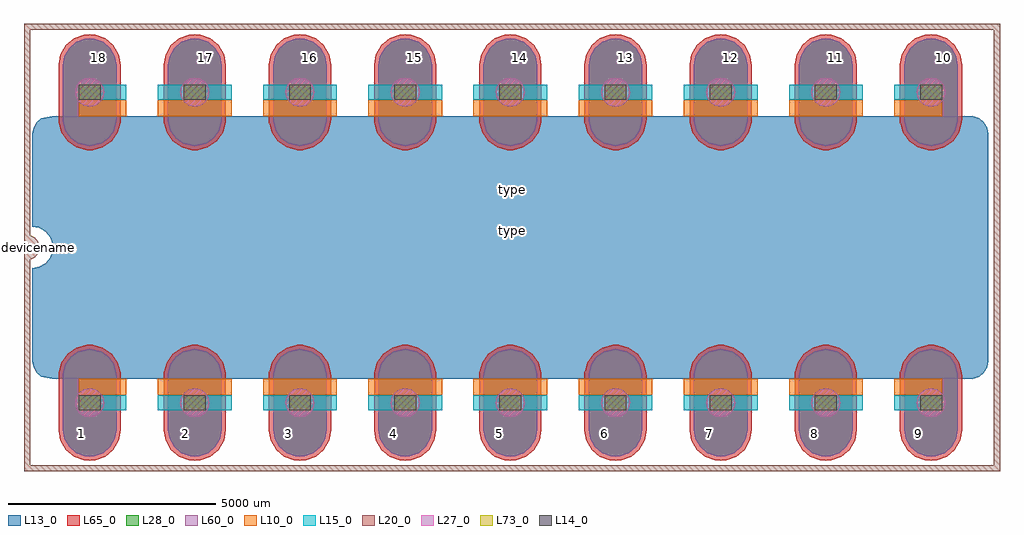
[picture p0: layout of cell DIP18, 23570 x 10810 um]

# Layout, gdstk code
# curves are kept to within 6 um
import gdstk
lib = gdstk.Library(unit=1e-6, precision=1e-09)
def R(c, l, rs):  # rectangles x0, y0, x1, y1
    for r in rs: c.add(gdstk.rectangle(r[:2], r[2:], *l))
def A(c, l, x, y, w, h, nx, ny, dx, dy):  # array of equal rectangles
    R(c, l, [(x+i*dx, y+j*dy, x+i*dx+w, y+j*dy+h) for i in range(nx) for j in range(ny)])
def P(c, l, *ps):  # polygons
    for p in ps: c.add(gdstk.Polygon(p, *l))
L10_0 = (10, 0)
L13_0 = (13, 0)
L14_0 = (14, 0)
L15_0 = (15, 0)
L20_0 = (20, 0)
L27_0 = (27, 0)
L28_0 = (28, 0)
L60_0 = (60, 0)
L65_0 = (65, 0)
L73_0 = (73, 0)

dip18 = lib.new_cell('DIP18')
A(dip18, L10_0, 1340, -3565, 1780, 390, 7, 2, 2540, 6740)
R(dip18, L10_0, [(-575,-3565,580,-3175), (19120,-3565,20275,-3175), (-575,3175,580,3565), (19120,3175,20275,3565)])
P(dip18, L13_0, [(21030.537,3170.891),(-1210.537,3170.891),(-1472.5,3119.221),(-1588.229,3022.113),(-1663.766,2891.279),(-1690,2742.5),(-1690,502.063),(-1523.99,472.346),(-1373.606,385.522),(-1261.987,252.5),(-1202.596,89.324),(-1202.596,-84.324),(-1261.987,-247.5),(-1373.606,-380.522),(-1523.99,-467.346),(-1690,-497.063),(-1690,-2742.5),(-1663.766,-2891.279),(-1588.229,-3022.113),(-1472.5,-3119.221),(-1210.537,-3170.891),(21030.537,-3170.891),(21172.5,-3119.221),(21288.229,-3022.113),(21363.766,-2891.279),(21390,-2742.5),(21390,2742.5),(21363.766,2891.279),(21288.229,3022.113),(21172.5,3119.221)])
A(dip18, L14_0, -575, -3935, 530, 370, 9, 2, 2540, 7500)
A(dip18, L15_0, 1340, -3935, 1780, 370, 7, 2, 2540, 7500)
R(dip18, L15_0, [(-575,-3935,580,-3565), (19120,-3935,20275,-3565), (-575,3565,580,3935), (19120,3565,20275,3935)])
P(dip18, L20_0, [(-1820,300),(-1820,-300),(-1717.394,-281.908),(-1647.927,-245.746),(-1607.868,-212.132),(-1574.254,-172.073),(-1538.092,-102.606),(-1520,0),(-1538.092,102.606),(-1574.254,172.073),(-1607.868,212.132),(-1647.927,245.746),(-1717.394,281.908)])
P(dip18, L27_0, [(17820,-3750),(17793.358,-3616.061),(17717.487,-3502.513),(17603.939,-3426.642),(17470,-3400),(17336.061,-3426.642),(17222.513,-3502.513),(17146.642,-3616.061),(17120,-3750),(17146.642,-3883.939),(17222.513,-3997.487),(17336.061,-4073.358),(17470,-4100),(17603.939,-4073.358),(17717.487,-3997.487),(17793.358,-3883.939)],
  [(17820,3750),(17793.358,3883.939),(17717.487,3997.487),(17603.939,4073.358),(17470,4100),(17336.061,4073.358),(17222.513,3997.487),(17146.642,3883.939),(17120,3750),(17146.642,3616.061),(17222.513,3502.513),(17336.061,3426.642),(17470,3400),(17603.939,3426.642),(17717.487,3502.513),(17793.358,3616.061)],
  [(15280,3750),(15253.358,3883.939),(15177.487,3997.487),(15063.939,4073.358),(14930,4100),(14796.061,4073.358),(14682.513,3997.487),(14606.642,3883.939),(14580,3750),(14606.642,3616.061),(14682.513,3502.513),(14796.061,3426.642),(14930,3400),(15063.939,3426.642),(15177.487,3502.513),(15253.358,3616.061)],
  [(15280,-3750),(15253.358,-3616.061),(15177.487,-3502.513),(15063.939,-3426.642),(14930,-3400),(14796.061,-3426.642),(14682.513,-3502.513),(14606.642,-3616.061),(14580,-3750),(14606.642,-3883.939),(14682.513,-3997.487),(14796.061,-4073.358),(14930,-4100),(15063.939,-4073.358),(15177.487,-3997.487),(15253.358,-3883.939)],
  [(12740,-3750),(12713.358,-3616.061),(12637.487,-3502.513),(12523.939,-3426.642),(12390,-3400),(12256.061,-3426.642),(12142.513,-3502.513),(12066.642,-3616.061),(12040,-3750),(12066.642,-3883.939),(12142.513,-3997.487),(12256.061,-4073.358),(12390,-4100),(12523.939,-4073.358),(12637.487,-3997.487),(12713.358,-3883.939)],
  [(12740,3750),(12713.358,3883.939),(12637.487,3997.487),(12523.939,4073.358),(12390,4100),(12256.061,4073.358),(12142.513,3997.487),(12066.642,3883.939),(12040,3750),(12066.642,3616.061),(12142.513,3502.513),(12256.061,3426.642),(12390,3400),(12523.939,3426.642),(12637.487,3502.513),(12713.358,3616.061)],
  [(10200,3750),(10173.358,3883.939),(10097.487,3997.487),(9983.939,4073.358),(9850,4100),(9716.061,4073.358),(9602.513,3997.487),(9526.642,3883.939),(9500,3750),(9526.642,3616.061),(9602.513,3502.513),(9716.061,3426.642),(9850,3400),(9983.939,3426.642),(10097.487,3502.513),(10173.358,3616.061)],
  [(10200,-3750),(10173.358,-3616.061),(10097.487,-3502.513),(9983.939,-3426.642),(9850,-3400),(9716.061,-3426.642),(9602.513,-3502.513),(9526.642,-3616.061),(9500,-3750),(9526.642,-3883.939),(9602.513,-3997.487),(9716.061,-4073.358),(9850,-4100),(9983.939,-4073.358),(10097.487,-3997.487),(10173.358,-3883.939)],
  [(7660,-3750),(7633.358,-3616.061),(7557.487,-3502.513),(7443.939,-3426.642),(7310,-3400),(7176.061,-3426.642),(7062.513,-3502.513),(6986.642,-3616.061),(6960,-3750),(6986.642,-3883.939),(7062.513,-3997.487),(7176.061,-4073.358),(7310,-4100),(7443.939,-4073.358),(7557.487,-3997.487),(7633.358,-3883.939)],
  [(7660,3750),(7633.358,3883.939),(7557.487,3997.487),(7443.939,4073.358),(7310,4100),(7176.061,4073.358),(7062.513,3997.487),(6986.642,3883.939),(6960,3750),(6986.642,3616.061),(7062.513,3502.513),(7176.061,3426.642),(7310,3400),(7443.939,3426.642),(7557.487,3502.513),(7633.358,3616.061)],
  [(20360,3750),(20333.358,3883.939),(20257.487,3997.487),(20143.939,4073.358),(20010,4100),(19876.061,4073.358),(19762.513,3997.487),(19686.642,3883.939),(19660,3750),(19686.642,3616.061),(19762.513,3502.513),(19876.061,3426.642),(20010,3400),(20143.939,3426.642),(20257.487,3502.513),(20333.358,3616.061)],
  [(5120,3750),(5093.358,3883.939),(5017.487,3997.487),(4903.939,4073.358),(4770,4100),(4636.061,4073.358),(4522.513,3997.487),(4446.642,3883.939),(4420,3750),(4446.642,3616.061),(4522.513,3502.513),(4636.061,3426.642),(4770,3400),(4903.939,3426.642),(5017.487,3502.513),(5093.358,3616.061)],
  [(2580,3750),(2553.358,3883.939),(2477.487,3997.487),(2363.939,4073.358),(2230,4100),(2096.061,4073.358),(1982.513,3997.487),(1906.642,3883.939),(1880,3750),(1906.642,3616.061),(1982.513,3502.513),(2096.061,3426.642),(2230,3400),(2363.939,3426.642),(2477.487,3502.513),(2553.358,3616.061)],
  [(40,3750),(13.358,3883.939),(-62.513,3997.487),(-176.061,4073.358),(-310,4100),(-443.939,4073.358),(-557.487,3997.487),(-633.358,3883.939),(-660,3750),(-633.358,3616.061),(-557.487,3502.513),(-443.939,3426.642),(-310,3400),(-176.061,3426.642),(-62.513,3502.513),(13.358,3616.061)],
  [(40,-3750),(13.358,-3616.061),(-62.513,-3502.513),(-176.061,-3426.642),(-310,-3400),(-443.939,-3426.642),(-557.487,-3502.513),(-633.358,-3616.061),(-660,-3750),(-633.358,-3883.939),(-557.487,-3997.487),(-443.939,-4073.358),(-310,-4100),(-176.061,-4073.358),(-62.513,-3997.487),(13.358,-3883.939)],
  [(2580,-3750),(2553.358,-3616.061),(2477.487,-3502.513),(2363.939,-3426.642),(2230,-3400),(2096.061,-3426.642),(1982.513,-3502.513),(1906.642,-3616.061),(1880,-3750),(1906.642,-3883.939),(1982.513,-3997.487),(2096.061,-4073.358),(2230,-4100),(2363.939,-4073.358),(2477.487,-3997.487),(2553.358,-3883.939)],
  [(5120,-3750),(5093.358,-3616.061),(5017.487,-3502.513),(4903.939,-3426.642),(4770,-3400),(4636.061,-3426.642),(4522.513,-3502.513),(4446.642,-3616.061),(4420,-3750),(4446.642,-3883.939),(4522.513,-3997.487),(4636.061,-4073.358),(4770,-4100),(4903.939,-4073.358),(5017.487,-3997.487),(5093.358,-3883.939)],
  [(20360,-3750),(20333.358,-3616.061),(20257.487,-3502.513),(20143.939,-3426.642),(20010,-3400),(19876.061,-3426.642),(19762.513,-3502.513),(19686.642,-3616.061),(19660,-3750),(19686.642,-3883.939),(19762.513,-3997.487),(19876.061,-4073.358),(20010,-4100),(20143.939,-4073.358),(20257.487,-3997.487),(20333.358,-3883.939)])
P(dip18, L28_0, [(17470,-5050),(17582.871,-5040.125),(17795,-4962.917),(17967.929,-4817.812),(18080.8,-4622.313),(18120,-4400),(18120,-3100),(18117.527,-3043.349),(18059.1,-2825.298),(17929.619,-2640.381),(17744.702,-2510.9),(17526.651,-2452.473),(17470,-2450),(17413.349,-2452.473),(17195.298,-2510.9),(17010.381,-2640.381),(16880.9,-2825.298),(16822.473,-3043.349),(16820,-3099.235),(16820,-4400),(16859.2,-4622.313),(16972.071,-4817.812),(17145,-4962.917),(17357.129,-5040.125)],
  [(17470,5050),(17357.129,5040.125),(17145,4962.917),(16972.071,4817.812),(16859.2,4622.313),(16820,4400),(16820,3099.235),(16822.473,3043.349),(16880.9,2825.298),(17010.381,2640.381),(17195.298,2510.9),(17413.349,2452.473),(17470,2450),(17526.651,2452.473),(17744.702,2510.9),(17929.619,2640.381),(18059.1,2825.298),(18117.527,3043.349),(18120,3100),(18120,4400),(18080.8,4622.313),(17967.929,4817.812),(17795,4962.917),(17582.871,5040.125)],
  [(14930,5050),(14817.129,5040.125),(14605,4962.917),(14432.071,4817.812),(14319.2,4622.313),(14280,4400),(14280,3099.235),(14282.473,3043.349),(14340.9,2825.298),(14470.381,2640.381),(14655.298,2510.9),(14873.349,2452.473),(14930,2450),(14986.651,2452.473),(15204.702,2510.9),(15389.619,2640.381),(15519.1,2825.298),(15577.527,3043.349),(15580,3100),(15580,4400),(15540.8,4622.313),(15427.929,4817.812),(15255,4962.917),(15042.871,5040.125)],
  [(14930,-5050),(15042.871,-5040.125),(15255,-4962.917),(15427.929,-4817.812),(15540.8,-4622.313),(15580,-4400),(15580,-3100),(15577.527,-3043.349),(15519.1,-2825.298),(15389.619,-2640.381),(15204.702,-2510.9),(14986.651,-2452.473),(14930,-2450),(14873.349,-2452.473),(14655.298,-2510.9),(14470.381,-2640.381),(14340.9,-2825.298),(14282.473,-3043.349),(14280,-3099.235),(14280,-4400),(14319.2,-4622.313),(14432.071,-4817.812),(14605,-4962.917),(14817.129,-5040.125)],
  [(12390,-5050),(12502.871,-5040.125),(12715,-4962.917),(12887.929,-4817.812),(13000.8,-4622.313),(13040,-4400),(13040,-3100),(13037.527,-3043.349),(12979.1,-2825.298),(12849.619,-2640.381),(12664.702,-2510.9),(12446.651,-2452.473),(12390,-2450),(12333.349,-2452.473),(12115.298,-2510.9),(11930.381,-2640.381),(11800.9,-2825.298),(11742.473,-3043.349),(11740,-3099.235),(11740,-4400),(11779.2,-4622.313),(11892.071,-4817.812),(12065,-4962.917),(12277.129,-5040.125)],
  [(12390,5050),(12277.129,5040.125),(12065,4962.917),(11892.071,4817.812),(11779.2,4622.313),(11740,4400),(11740,3099.235),(11742.473,3043.349),(11800.9,2825.298),(11930.381,2640.381),(12115.298,2510.9),(12333.349,2452.473),(12390,2450),(12446.651,2452.473),(12664.702,2510.9),(12849.619,2640.381),(12979.1,2825.298),(13037.527,3043.349),(13040,3100),(13040,4400),(13000.8,4622.313),(12887.929,4817.812),(12715,4962.917),(12502.871,5040.125)],
  [(9850,5050),(9737.129,5040.125),(9525,4962.917),(9352.071,4817.812),(9239.2,4622.313),(9200,4400),(9200,3099.235),(9202.473,3043.349),(9260.9,2825.298),(9390.381,2640.381),(9575.298,2510.9),(9793.349,2452.473),(9850,2450),(9906.651,2452.473),(10124.702,2510.9),(10309.619,2640.381),(10439.1,2825.298),(10497.527,3043.349),(10500,3100),(10500,4400),(10460.8,4622.313),(10347.929,4817.812),(10175,4962.917),(9962.871,5040.125)],
  [(9850,-5050),(9962.871,-5040.125),(10175,-4962.917),(10347.929,-4817.812),(10460.8,-4622.313),(10500,-4400),(10500,-3100),(10497.527,-3043.349),(10439.1,-2825.298),(10309.619,-2640.381),(10124.702,-2510.9),(9906.651,-2452.473),(9850,-2450),(9793.349,-2452.473),(9575.298,-2510.9),(9390.381,-2640.381),(9260.9,-2825.298),(9202.473,-3043.349),(9200,-3099.235),(9200,-4400),(9239.2,-4622.313),(9352.071,-4817.812),(9525,-4962.917),(9737.129,-5040.125)],
  [(7310,-5050),(7422.871,-5040.125),(7635,-4962.917),(7807.929,-4817.812),(7920.8,-4622.313),(7960,-4400),(7960,-3100),(7957.527,-3043.349),(7899.1,-2825.298),(7769.619,-2640.381),(7584.702,-2510.9),(7366.651,-2452.473),(7310,-2450),(7253.349,-2452.473),(7035.298,-2510.9),(6850.381,-2640.381),(6720.9,-2825.298),(6662.473,-3043.349),(6660,-3099.235),(6660,-4400),(6699.2,-4622.313),(6812.071,-4817.812),(6985,-4962.917),(7197.129,-5040.125)],
  [(7310,5050),(7197.129,5040.125),(6985,4962.917),(6812.071,4817.812),(6699.2,4622.313),(6660,4400),(6660,3099.235),(6662.473,3043.349),(6720.9,2825.298),(6850.381,2640.381),(7035.298,2510.9),(7253.349,2452.473),(7310,2450),(7366.651,2452.473),(7584.702,2510.9),(7769.619,2640.381),(7899.1,2825.298),(7957.527,3043.349),(7960,3100),(7960,4400),(7920.8,4622.313),(7807.929,4817.812),(7635,4962.917),(7422.871,5040.125)],
  [(20010,5050),(19897.129,5040.125),(19685,4962.917),(19512.071,4817.812),(19399.2,4622.313),(19360,4400),(19360,3099.235),(19362.473,3043.349),(19420.9,2825.298),(19550.381,2640.381),(19735.298,2510.9),(19953.349,2452.473),(20010,2450),(20066.651,2452.473),(20284.702,2510.9),(20469.619,2640.381),(20599.1,2825.298),(20657.527,3043.349),(20660,3100),(20660,4400),(20620.8,4622.313),(20507.929,4817.812),(20335,4962.917),(20122.871,5040.125)],
  [(4770,5050),(4657.129,5040.125),(4445,4962.917),(4272.071,4817.812),(4159.2,4622.313),(4120,4400),(4120,3099.235),(4122.473,3043.349),(4180.9,2825.298),(4310.381,2640.381),(4495.298,2510.9),(4713.349,2452.473),(4770,2450),(4826.651,2452.473),(5044.702,2510.9),(5229.619,2640.381),(5359.1,2825.298),(5417.527,3043.349),(5420,3100),(5420,4400),(5380.8,4622.313),(5267.929,4817.812),(5095,4962.917),(4882.871,5040.125)],
  [(2230,5050),(2117.129,5040.125),(1905,4962.917),(1732.071,4817.812),(1619.2,4622.313),(1580,4400),(1580,3099.235),(1582.473,3043.349),(1640.9,2825.298),(1770.381,2640.381),(1955.298,2510.9),(2173.349,2452.473),(2230,2450),(2286.651,2452.473),(2504.702,2510.9),(2689.619,2640.381),(2819.1,2825.298),(2877.527,3043.349),(2880,3100),(2880,4400),(2840.8,4622.313),(2727.929,4817.812),(2555,4962.917),(2342.871,5040.125)],
  [(-310,5050),(-422.871,5040.125),(-635,4962.917),(-807.929,4817.812),(-920.8,4622.313),(-960,4400),(-960,3099.235),(-957.527,3043.349),(-899.1,2825.298),(-769.619,2640.381),(-584.702,2510.9),(-366.651,2452.473),(-310,2450),(-253.349,2452.473),(-35.298,2510.9),(149.619,2640.381),(279.1,2825.298),(337.527,3043.349),(340,3100),(340,4400),(300.8,4622.313),(187.929,4817.812),(15,4962.917),(-197.129,5040.125)],
  [(-310,-5050),(-197.129,-5040.125),(15,-4962.917),(187.929,-4817.812),(300.8,-4622.313),(340,-4400),(340,-3100),(337.527,-3043.349),(279.1,-2825.298),(149.619,-2640.381),(-35.298,-2510.9),(-253.349,-2452.473),(-310,-2450),(-366.651,-2452.473),(-584.702,-2510.9),(-769.619,-2640.381),(-899.1,-2825.298),(-957.527,-3043.349),(-960,-3099.235),(-960,-4400),(-920.8,-4622.313),(-807.929,-4817.812),(-635,-4962.917),(-422.871,-5040.125)],
  [(2230,-5050),(2342.871,-5040.125),(2555,-4962.917),(2727.929,-4817.812),(2840.8,-4622.313),(2880,-4400),(2880,-3100),(2877.527,-3043.349),(2819.1,-2825.298),(2689.619,-2640.381),(2504.702,-2510.9),(2286.651,-2452.473),(2230,-2450),(2173.349,-2452.473),(1955.298,-2510.9),(1770.381,-2640.381),(1640.9,-2825.298),(1582.473,-3043.349),(1580,-3099.235),(1580,-4400),(1619.2,-4622.313),(1732.071,-4817.812),(1905,-4962.917),(2117.129,-5040.125)],
  [(4770,-5050),(4882.871,-5040.125),(5095,-4962.917),(5267.929,-4817.812),(5380.8,-4622.313),(5420,-4400),(5420,-3100),(5417.527,-3043.349),(5359.1,-2825.298),(5229.619,-2640.381),(5044.702,-2510.9),(4826.651,-2452.473),(4770,-2450),(4713.349,-2452.473),(4495.298,-2510.9),(4310.381,-2640.381),(4180.9,-2825.298),(4122.473,-3043.349),(4120,-3099.235),(4120,-4400),(4159.2,-4622.313),(4272.071,-4817.812),(4445,-4962.917),(4657.129,-5040.125)],
  [(20010,-5050),(20122.871,-5040.125),(20335,-4962.917),(20507.929,-4817.812),(20620.8,-4622.313),(20660,-4400),(20660,-3100),(20657.527,-3043.349),(20599.1,-2825.298),(20469.619,-2640.381),(20284.702,-2510.9),(20066.651,-2452.473),(20010,-2450),(19953.349,-2452.473),(19735.298,-2510.9),(19550.381,-2640.381),(19420.9,-2825.298),(19362.473,-3043.349),(19360,-3099.235),(19360,-4400),(19399.2,-4622.313),(19512.071,-4817.812),(19685,-4962.917),(19897.129,-5040.125)])
P(dip18, L60_0, [(17470,-5050),(17582.871,-5040.125),(17795,-4962.917),(17967.929,-4817.812),(18080.8,-4622.313),(18120,-4400),(18120,-3100),(18117.527,-3043.349),(18059.1,-2825.298),(17929.619,-2640.381),(17744.702,-2510.9),(17526.651,-2452.473),(17470,-2450),(17413.349,-2452.473),(17195.298,-2510.9),(17010.381,-2640.381),(16880.9,-2825.298),(16822.473,-3043.349),(16820,-3099.235),(16820,-4400),(16859.2,-4622.313),(16972.071,-4817.812),(17145,-4962.917),(17357.129,-5040.125)],
  [(17470,5050),(17357.129,5040.125),(17145,4962.917),(16972.071,4817.812),(16859.2,4622.313),(16820,4400),(16820,3099.235),(16822.473,3043.349),(16880.9,2825.298),(17010.381,2640.381),(17195.298,2510.9),(17413.349,2452.473),(17470,2450),(17526.651,2452.473),(17744.702,2510.9),(17929.619,2640.381),(18059.1,2825.298),(18117.527,3043.349),(18120,3100),(18120,4400),(18080.8,4622.313),(17967.929,4817.812),(17795,4962.917),(17582.871,5040.125)],
  [(14930,5050),(14817.129,5040.125),(14605,4962.917),(14432.071,4817.812),(14319.2,4622.313),(14280,4400),(14280,3099.235),(14282.473,3043.349),(14340.9,2825.298),(14470.381,2640.381),(14655.298,2510.9),(14873.349,2452.473),(14930,2450),(14986.651,2452.473),(15204.702,2510.9),(15389.619,2640.381),(15519.1,2825.298),(15577.527,3043.349),(15580,3100),(15580,4400),(15540.8,4622.313),(15427.929,4817.812),(15255,4962.917),(15042.871,5040.125)],
  [(14930,-5050),(15042.871,-5040.125),(15255,-4962.917),(15427.929,-4817.812),(15540.8,-4622.313),(15580,-4400),(15580,-3100),(15577.527,-3043.349),(15519.1,-2825.298),(15389.619,-2640.381),(15204.702,-2510.9),(14986.651,-2452.473),(14930,-2450),(14873.349,-2452.473),(14655.298,-2510.9),(14470.381,-2640.381),(14340.9,-2825.298),(14282.473,-3043.349),(14280,-3099.235),(14280,-4400),(14319.2,-4622.313),(14432.071,-4817.812),(14605,-4962.917),(14817.129,-5040.125)],
  [(12390,-5050),(12502.871,-5040.125),(12715,-4962.917),(12887.929,-4817.812),(13000.8,-4622.313),(13040,-4400),(13040,-3100),(13037.527,-3043.349),(12979.1,-2825.298),(12849.619,-2640.381),(12664.702,-2510.9),(12446.651,-2452.473),(12390,-2450),(12333.349,-2452.473),(12115.298,-2510.9),(11930.381,-2640.381),(11800.9,-2825.298),(11742.473,-3043.349),(11740,-3099.235),(11740,-4400),(11779.2,-4622.313),(11892.071,-4817.812),(12065,-4962.917),(12277.129,-5040.125)],
  [(12390,5050),(12277.129,5040.125),(12065,4962.917),(11892.071,4817.812),(11779.2,4622.313),(11740,4400),(11740,3099.235),(11742.473,3043.349),(11800.9,2825.298),(11930.381,2640.381),(12115.298,2510.9),(12333.349,2452.473),(12390,2450),(12446.651,2452.473),(12664.702,2510.9),(12849.619,2640.381),(12979.1,2825.298),(13037.527,3043.349),(13040,3100),(13040,4400),(13000.8,4622.313),(12887.929,4817.812),(12715,4962.917),(12502.871,5040.125)],
  [(9850,5050),(9737.129,5040.125),(9525,4962.917),(9352.071,4817.812),(9239.2,4622.313),(9200,4400),(9200,3099.235),(9202.473,3043.349),(9260.9,2825.298),(9390.381,2640.381),(9575.298,2510.9),(9793.349,2452.473),(9850,2450),(9906.651,2452.473),(10124.702,2510.9),(10309.619,2640.381),(10439.1,2825.298),(10497.527,3043.349),(10500,3100),(10500,4400),(10460.8,4622.313),(10347.929,4817.812),(10175,4962.917),(9962.871,5040.125)],
  [(9850,-5050),(9962.871,-5040.125),(10175,-4962.917),(10347.929,-4817.812),(10460.8,-4622.313),(10500,-4400),(10500,-3100),(10497.527,-3043.349),(10439.1,-2825.298),(10309.619,-2640.381),(10124.702,-2510.9),(9906.651,-2452.473),(9850,-2450),(9793.349,-2452.473),(9575.298,-2510.9),(9390.381,-2640.381),(9260.9,-2825.298),(9202.473,-3043.349),(9200,-3099.235),(9200,-4400),(9239.2,-4622.313),(9352.071,-4817.812),(9525,-4962.917),(9737.129,-5040.125)],
  [(7310,-5050),(7422.871,-5040.125),(7635,-4962.917),(7807.929,-4817.812),(7920.8,-4622.313),(7960,-4400),(7960,-3100),(7957.527,-3043.349),(7899.1,-2825.298),(7769.619,-2640.381),(7584.702,-2510.9),(7366.651,-2452.473),(7310,-2450),(7253.349,-2452.473),(7035.298,-2510.9),(6850.381,-2640.381),(6720.9,-2825.298),(6662.473,-3043.349),(6660,-3099.235),(6660,-4400),(6699.2,-4622.313),(6812.071,-4817.812),(6985,-4962.917),(7197.129,-5040.125)],
  [(7310,5050),(7197.129,5040.125),(6985,4962.917),(6812.071,4817.812),(6699.2,4622.313),(6660,4400),(6660,3099.235),(6662.473,3043.349),(6720.9,2825.298),(6850.381,2640.381),(7035.298,2510.9),(7253.349,2452.473),(7310,2450),(7366.651,2452.473),(7584.702,2510.9),(7769.619,2640.381),(7899.1,2825.298),(7957.527,3043.349),(7960,3100),(7960,4400),(7920.8,4622.313),(7807.929,4817.812),(7635,4962.917),(7422.871,5040.125)],
  [(20010,5050),(19897.129,5040.125),(19685,4962.917),(19512.071,4817.812),(19399.2,4622.313),(19360,4400),(19360,3099.235),(19362.473,3043.349),(19420.9,2825.298),(19550.381,2640.381),(19735.298,2510.9),(19953.349,2452.473),(20010,2450),(20066.651,2452.473),(20284.702,2510.9),(20469.619,2640.381),(20599.1,2825.298),(20657.527,3043.349),(20660,3100),(20660,4400),(20620.8,4622.313),(20507.929,4817.812),(20335,4962.917),(20122.871,5040.125)],
  [(4770,5050),(4657.129,5040.125),(4445,4962.917),(4272.071,4817.812),(4159.2,4622.313),(4120,4400),(4120,3099.235),(4122.473,3043.349),(4180.9,2825.298),(4310.381,2640.381),(4495.298,2510.9),(4713.349,2452.473),(4770,2450),(4826.651,2452.473),(5044.702,2510.9),(5229.619,2640.381),(5359.1,2825.298),(5417.527,3043.349),(5420,3100),(5420,4400),(5380.8,4622.313),(5267.929,4817.812),(5095,4962.917),(4882.871,5040.125)],
  [(2230,5050),(2117.129,5040.125),(1905,4962.917),(1732.071,4817.812),(1619.2,4622.313),(1580,4400),(1580,3099.235),(1582.473,3043.349),(1640.9,2825.298),(1770.381,2640.381),(1955.298,2510.9),(2173.349,2452.473),(2230,2450),(2286.651,2452.473),(2504.702,2510.9),(2689.619,2640.381),(2819.1,2825.298),(2877.527,3043.349),(2880,3100),(2880,4400),(2840.8,4622.313),(2727.929,4817.812),(2555,4962.917),(2342.871,5040.125)],
  [(-310,5050),(-422.871,5040.125),(-635,4962.917),(-807.929,4817.812),(-920.8,4622.313),(-960,4400),(-960,3099.235),(-957.527,3043.349),(-899.1,2825.298),(-769.619,2640.381),(-584.702,2510.9),(-366.651,2452.473),(-310,2450),(-253.349,2452.473),(-35.298,2510.9),(149.619,2640.381),(279.1,2825.298),(337.527,3043.349),(340,3100),(340,4400),(300.8,4622.313),(187.929,4817.812),(15,4962.917),(-197.129,5040.125)],
  [(-310,-5050),(-197.129,-5040.125),(15,-4962.917),(187.929,-4817.812),(300.8,-4622.313),(340,-4400),(340,-3100),(337.527,-3043.349),(279.1,-2825.298),(149.619,-2640.381),(-35.298,-2510.9),(-253.349,-2452.473),(-310,-2450),(-366.651,-2452.473),(-584.702,-2510.9),(-769.619,-2640.381),(-899.1,-2825.298),(-957.527,-3043.349),(-960,-3099.235),(-960,-4400),(-920.8,-4622.313),(-807.929,-4817.812),(-635,-4962.917),(-422.871,-5040.125)],
  [(2230,-5050),(2342.871,-5040.125),(2555,-4962.917),(2727.929,-4817.812),(2840.8,-4622.313),(2880,-4400),(2880,-3100),(2877.527,-3043.349),(2819.1,-2825.298),(2689.619,-2640.381),(2504.702,-2510.9),(2286.651,-2452.473),(2230,-2450),(2173.349,-2452.473),(1955.298,-2510.9),(1770.381,-2640.381),(1640.9,-2825.298),(1582.473,-3043.349),(1580,-3099.235),(1580,-4400),(1619.2,-4622.313),(1732.071,-4817.812),(1905,-4962.917),(2117.129,-5040.125)],
  [(4770,-5050),(4882.871,-5040.125),(5095,-4962.917),(5267.929,-4817.812),(5380.8,-4622.313),(5420,-4400),(5420,-3100),(5417.527,-3043.349),(5359.1,-2825.298),(5229.619,-2640.381),(5044.702,-2510.9),(4826.651,-2452.473),(4770,-2450),(4713.349,-2452.473),(4495.298,-2510.9),(4310.381,-2640.381),(4180.9,-2825.298),(4122.473,-3043.349),(4120,-3099.235),(4120,-4400),(4159.2,-4622.313),(4272.071,-4817.812),(4445,-4962.917),(4657.129,-5040.125)],
  [(20010,-5050),(20122.871,-5040.125),(20335,-4962.917),(20507.929,-4817.812),(20620.8,-4622.313),(20660,-4400),(20660,-3100),(20657.527,-3043.349),(20599.1,-2825.298),(20469.619,-2640.381),(20284.702,-2510.9),(20066.651,-2452.473),(20010,-2450),(19953.349,-2452.473),(19735.298,-2510.9),(19550.381,-2640.381),(19420.9,-2825.298),(19362.473,-3043.349),(19360,-3099.235),(19360,-4400),(19399.2,-4622.313),(19512.071,-4817.812),(19685,-4962.917),(19897.129,-5040.125)])
P(dip18, L65_0, [(17335.297,-5138.597),(17470,-5150.382),(17604.703,-5138.597),(17845.768,-5050.857),(18045.715,-4883.082),(18176.218,-4657.043),(18220.382,-4406.578),(18220.094,-3100.009),(18216.953,-3028.043),(18151.128,-2782.382),(18001.422,-2568.581),(17787.618,-2418.872),(17541.955,-2353.047),(17398.045,-2353.047),(17152.382,-2418.872),(16938.578,-2568.581),(16788.872,-2782.382),(16723.047,-3028.043),(16720,-2999.235),(16720,-4408.744),(16763.782,-4657.043),(16894.285,-4883.082),(17094.232,-5050.857)],
  [(17604.703,5138.597),(17470,5150.382),(17335.297,5138.597),(17094.232,5050.857),(16894.285,4883.082),(16763.782,4657.043),(16720,4408.744),(16720,2999.235),(16723.047,3028.043),(16788.872,2782.382),(16938.578,2568.581),(17152.382,2418.872),(17398.045,2353.047),(17541.955,2353.047),(17787.618,2418.872),(18001.422,2568.581),(18151.128,2782.382),(18216.953,3028.043),(18220.382,4406.578),(18176.218,4657.043),(18045.715,4883.082),(17845.768,5050.857)],
  [(15064.703,5138.597),(14930,5150.382),(14795.297,5138.597),(14554.232,5050.857),(14354.285,4883.082),(14223.782,4657.043),(14180,4408.744),(14180,2999.235),(14183.047,3028.043),(14248.872,2782.382),(14398.578,2568.581),(14612.382,2418.872),(14858.045,2353.047),(15001.955,2353.047),(15247.618,2418.872),(15461.422,2568.581),(15611.128,2782.382),(15676.953,3028.043),(15680.382,4406.578),(15636.218,4657.043),(15505.715,4883.082),(15305.768,5050.857)],
  [(14795.297,-5138.597),(14930,-5150.382),(15064.703,-5138.597),(15305.768,-5050.857),(15505.715,-4883.082),(15636.218,-4657.043),(15680.382,-4406.578),(15680.094,-3100.009),(15676.953,-3028.043),(15611.128,-2782.382),(15461.422,-2568.581),(15247.618,-2418.872),(15001.955,-2353.047),(14858.045,-2353.047),(14612.382,-2418.872),(14398.578,-2568.581),(14248.872,-2782.382),(14183.047,-3028.043),(14180,-2999.235),(14180,-4408.744),(14223.782,-4657.043),(14354.285,-4883.082),(14554.232,-5050.857)],
  [(12255.297,-5138.597),(12390,-5150.382),(12524.703,-5138.597),(12765.768,-5050.857),(12965.715,-4883.082),(13096.218,-4657.043),(13140.382,-4406.578),(13140.094,-3100.009),(13136.953,-3028.043),(13071.128,-2782.382),(12921.422,-2568.581),(12707.618,-2418.872),(12461.955,-2353.047),(12318.045,-2353.047),(12072.382,-2418.872),(11858.578,-2568.581),(11708.872,-2782.382),(11643.047,-3028.043),(11640,-2999.235),(11640,-4408.744),(11683.782,-4657.043),(11814.285,-4883.082),(12014.232,-5050.857)],
  [(12524.703,5138.597),(12390,5150.382),(12255.297,5138.597),(12014.232,5050.857),(11814.285,4883.082),(11683.782,4657.043),(11640,4408.744),(11640,2999.235),(11643.047,3028.043),(11708.872,2782.382),(11858.578,2568.581),(12072.382,2418.872),(12318.045,2353.047),(12461.955,2353.047),(12707.618,2418.872),(12921.422,2568.581),(13071.128,2782.382),(13136.953,3028.043),(13140.382,4406.578),(13096.218,4657.043),(12965.715,4883.082),(12765.768,5050.857)],
  [(9984.703,5138.597),(9850,5150.382),(9715.297,5138.597),(9474.232,5050.857),(9274.285,4883.082),(9143.782,4657.043),(9100,4408.744),(9100,2999.235),(9103.047,3028.043),(9168.872,2782.382),(9318.578,2568.581),(9532.382,2418.872),(9778.045,2353.047),(9921.955,2353.047),(10167.618,2418.872),(10381.422,2568.581),(10531.128,2782.382),(10596.953,3028.043),(10600.382,4406.578),(10556.218,4657.043),(10425.715,4883.082),(10225.768,5050.857)],
  [(9715.297,-5138.597),(9850,-5150.382),(9984.703,-5138.597),(10225.768,-5050.857),(10425.715,-4883.082),(10556.218,-4657.043),(10600.382,-4406.578),(10600.094,-3100.009),(10596.953,-3028.043),(10531.128,-2782.382),(10381.422,-2568.581),(10167.618,-2418.872),(9921.955,-2353.047),(9778.045,-2353.047),(9532.382,-2418.872),(9318.578,-2568.581),(9168.872,-2782.382),(9103.047,-3028.043),(9100,-2999.235),(9100,-4408.744),(9143.782,-4657.043),(9274.285,-4883.082),(9474.232,-5050.857)],
  [(7175.297,-5138.597),(7310,-5150.382),(7444.703,-5138.597),(7685.768,-5050.857),(7885.715,-4883.082),(8016.218,-4657.043),(8060.382,-4406.578),(8060.094,-3100.009),(8056.953,-3028.043),(7991.128,-2782.382),(7841.422,-2568.581),(7627.618,-2418.872),(7381.955,-2353.047),(7238.045,-2353.047),(6992.382,-2418.872),(6778.578,-2568.581),(6628.872,-2782.382),(6563.047,-3028.043),(6560,-2999.235),(6560,-4408.744),(6603.782,-4657.043),(6734.285,-4883.082),(6934.232,-5050.857)],
  [(7444.703,5138.597),(7310,5150.382),(7175.297,5138.597),(6934.232,5050.857),(6734.285,4883.082),(6603.782,4657.043),(6560,4408.744),(6560,2999.235),(6563.047,3028.043),(6628.872,2782.382),(6778.578,2568.581),(6992.382,2418.872),(7238.045,2353.047),(7381.955,2353.047),(7627.618,2418.872),(7841.422,2568.581),(7991.128,2782.382),(8056.953,3028.043),(8060.382,4406.578),(8016.218,4657.043),(7885.715,4883.082),(7685.768,5050.857)],
  [(20144.703,5138.597),(20010,5150.382),(19875.297,5138.597),(19634.232,5050.857),(19434.285,4883.082),(19303.782,4657.043),(19260,4408.744),(19260,2999.235),(19263.047,3028.043),(19328.872,2782.382),(19478.578,2568.581),(19692.382,2418.872),(19938.045,2353.047),(20081.955,2353.047),(20327.618,2418.872),(20541.422,2568.581),(20691.128,2782.382),(20756.953,3028.043),(20760.382,4406.578),(20716.218,4657.043),(20585.715,4883.082),(20385.768,5050.857)],
  [(4904.703,5138.597),(4770,5150.382),(4635.297,5138.597),(4394.232,5050.857),(4194.285,4883.082),(4063.782,4657.043),(4020,4408.744),(4020,2999.235),(4023.047,3028.043),(4088.872,2782.382),(4238.578,2568.581),(4452.382,2418.872),(4698.045,2353.047),(4841.955,2353.047),(5087.618,2418.872),(5301.422,2568.581),(5451.128,2782.382),(5516.953,3028.043),(5520.382,4406.578),(5476.218,4657.043),(5345.715,4883.082),(5145.768,5050.857)],
  [(2364.703,5138.597),(2230,5150.382),(2095.297,5138.597),(1854.232,5050.857),(1654.285,4883.082),(1523.782,4657.043),(1480,4408.744),(1480,2999.235),(1483.047,3028.043),(1548.872,2782.382),(1698.578,2568.581),(1912.382,2418.872),(2158.045,2353.047),(2301.955,2353.047),(2547.618,2418.872),(2761.422,2568.581),(2911.128,2782.382),(2976.953,3028.043),(2980.382,4406.578),(2936.218,4657.043),(2805.715,4883.082),(2605.768,5050.857)],
  [(-175.297,5138.597),(-310,5150.382),(-444.703,5138.597),(-685.768,5050.857),(-885.715,4883.082),(-1016.218,4657.043),(-1060,4408.744),(-1060,2999.235),(-1056.953,3028.043),(-991.128,2782.382),(-841.422,2568.581),(-627.618,2418.872),(-381.955,2353.047),(-238.045,2353.047),(7.618,2418.872),(221.422,2568.581),(371.128,2782.382),(436.953,3028.043),(440.382,4406.578),(396.218,4657.043),(265.715,4883.082),(65.768,5050.857)],
  [(-444.703,-5138.597),(-310,-5150.382),(-175.297,-5138.597),(65.768,-5050.857),(265.715,-4883.082),(396.218,-4657.043),(440.382,-4406.578),(440.094,-3100.009),(436.953,-3028.043),(371.128,-2782.382),(221.422,-2568.581),(7.618,-2418.872),(-238.045,-2353.047),(-381.955,-2353.047),(-627.618,-2418.872),(-841.422,-2568.581),(-991.128,-2782.382),(-1056.953,-3028.043),(-1060,-2999.235),(-1060,-4408.744),(-1016.218,-4657.043),(-885.715,-4883.082),(-685.768,-5050.857)],
  [(2095.297,-5138.597),(2230,-5150.382),(2364.703,-5138.597),(2605.768,-5050.857),(2805.715,-4883.082),(2936.218,-4657.043),(2980.382,-4406.578),(2980.094,-3100.009),(2976.953,-3028.043),(2911.128,-2782.382),(2761.422,-2568.581),(2547.618,-2418.872),(2301.955,-2353.047),(2158.045,-2353.047),(1912.382,-2418.872),(1698.578,-2568.581),(1548.872,-2782.382),(1483.047,-3028.043),(1480,-2999.235),(1480,-4408.744),(1523.782,-4657.043),(1654.285,-4883.082),(1854.232,-5050.857)],
  [(4635.297,-5138.597),(4770,-5150.382),(4904.703,-5138.597),(5145.768,-5050.857),(5345.715,-4883.082),(5476.218,-4657.043),(5520.382,-4406.578),(5520.094,-3100.009),(5516.953,-3028.043),(5451.128,-2782.382),(5301.422,-2568.581),(5087.618,-2418.872),(4841.955,-2353.047),(4698.045,-2353.047),(4452.382,-2418.872),(4238.578,-2568.581),(4088.872,-2782.382),(4023.047,-3028.043),(4020,-2999.235),(4020,-4408.744),(4063.782,-4657.043),(4194.285,-4883.082),(4394.232,-5050.857)],
  [(19875.297,-5138.597),(20010,-5150.382),(20144.703,-5138.597),(20385.768,-5050.857),(20585.715,-4883.082),(20716.218,-4657.043),(20760.382,-4406.578),(20760.094,-3100.009),(20756.953,-3028.043),(20691.128,-2782.382),(20541.422,-2568.581),(20327.618,-2418.872),(20081.955,-2353.047),(19938.045,-2353.047),(19692.382,-2418.872),(19478.578,-2568.581),(19328.872,-2782.382),(19263.047,-3028.043),(19260,-2999.235),(19260,-4408.744),(19303.782,-4657.043),(19434.285,-4883.082),(19634.232,-5050.857)])
A(dip18, L73_0, -575, -3935, 530, 370, 9, 2, 2540, 7500)
dip18.add(gdstk.FlexPath([(-1820,5255),(-1820,-5330),(21600,-5330),(21600,5330),(-1895,5330)], 150, ends="flush", simple_path=True, layer=20, datatype=0))  # L20_0
dip18.add(gdstk.Label('8', (17200,-4500), layer=28, texttype=0))
dip18.add(gdstk.Label('11', (17700,4600), layer=28, texttype=0))
dip18.add(gdstk.Label('12', (15160,4600), layer=28, texttype=0))
dip18.add(gdstk.Label('7', (14660,-4500), layer=28, texttype=0))
dip18.add(gdstk.Label('6', (12120,-4500), layer=28, texttype=0))
dip18.add(gdstk.Label('13', (12620,4600), layer=28, texttype=0))
dip18.add(gdstk.Label('14', (10080,4600), layer=28, texttype=0))
dip18.add(gdstk.Label('5', (9580,-4500), layer=28, texttype=0))
dip18.add(gdstk.Label('4', (7040,-4500), layer=28, texttype=0))
dip18.add(gdstk.Label('15', (7540,4600), layer=28, texttype=0))
dip18.add(gdstk.Label('18', (-100,4600), layer=28, texttype=0))
dip18.add(gdstk.Label('17', (2500,4600), layer=28, texttype=0))
dip18.add(gdstk.Label('16', (5000,4600), layer=28, texttype=0))
dip18.add(gdstk.Label('10', (20300,4600), layer=28, texttype=0))
dip18.add(gdstk.Label('9', (19700,-4500), layer=28, texttype=0))
dip18.add(gdstk.Label('3', (4500,-4500), layer=28, texttype=0))
dip18.add(gdstk.Label('2', (2000,-4500), layer=28, texttype=0))
dip18.add(gdstk.Label('type', (9900,400), layer=20, texttype=0))
dip18.add(gdstk.Label('1', (-500,-4500), layer=28, texttype=0))
dip18.add(gdstk.Label('type', (9900,1400), layer=11, texttype=0))
dip18.add(gdstk.Label('devicename', (-2220,0), layer=20, texttype=0))

lib.write_gds('DIP18.gds')
